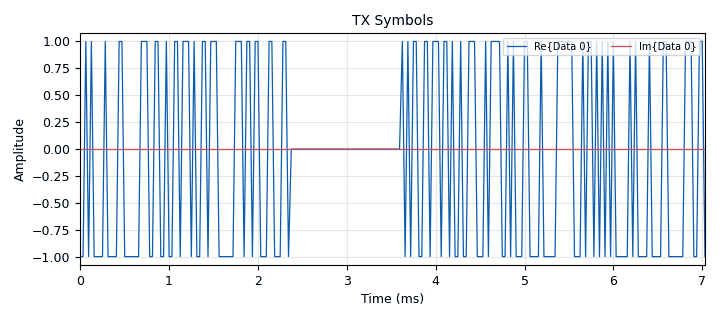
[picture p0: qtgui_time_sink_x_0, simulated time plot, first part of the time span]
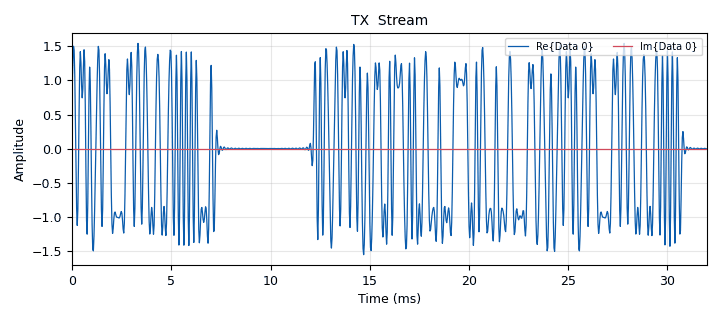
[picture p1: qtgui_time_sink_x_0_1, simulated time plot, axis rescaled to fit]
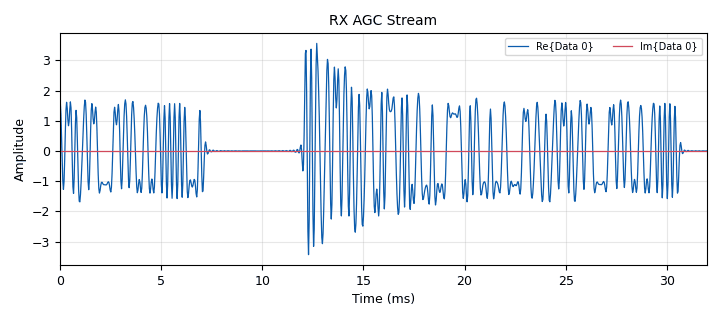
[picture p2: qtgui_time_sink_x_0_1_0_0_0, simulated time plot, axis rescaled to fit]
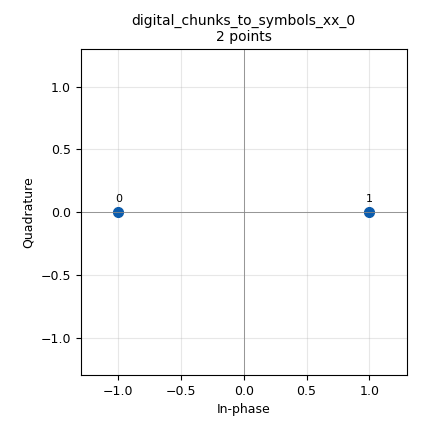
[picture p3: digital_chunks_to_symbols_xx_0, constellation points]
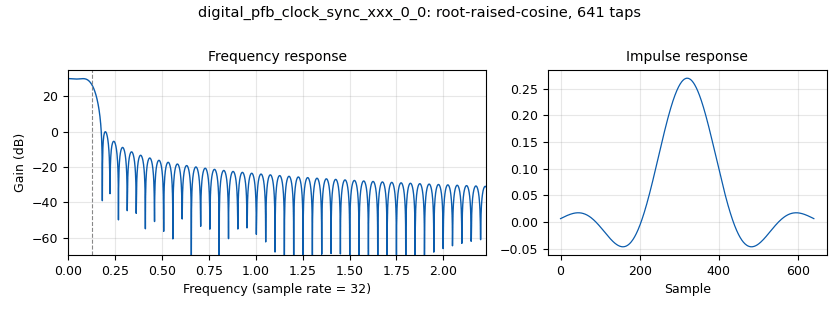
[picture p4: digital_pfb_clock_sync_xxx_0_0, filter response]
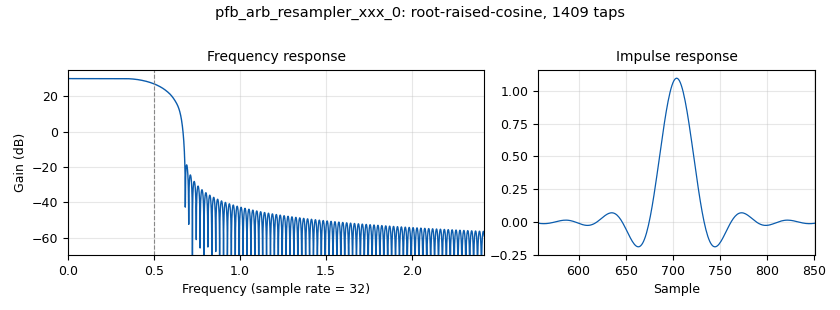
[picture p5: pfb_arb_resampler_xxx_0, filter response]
<?xml version='1.0' encoding='utf-8'?>
<?grc format='1' created='3.7.9'?>
<flow_graph>
<block>
<key>options</key>
<param><key>id</key><value>basic_chain_debug</value></param>
<param><key>category</key><value>Custom</value></param>
<param><key>generate_options</key><value>qt_gui</value></param>
</block>
<block>
<key>variable</key>
<param><key>id</key><value>constel_header</value></param>
<param><key>value</key><value>digital.constellation_bpsk()</value></param>
</block>
<block>
<key>variable</key>
<param><key>id</key><value>constel_payload</value></param>
<param><key>value</key><value>digital.constellation_bpsk()</value></param>
</block>
<block>
<key>variable</key>
<param><key>id</key><value>constel_preamble</value></param>
<param><key>value</key><value>digital.constellation_bpsk()</value></param>
</block>
<block>
<key>variable</key>
<param><key>id</key><value>eb</value></param>
<param><key>value</key><value>0.35</value></param>
</block>
<block>
<key>variable</key>
<param><key>id</key><value>header_formatter</value></param>
<param><key>value</key><value>digital.packet_header_default(4, "packet_len", "packet_num", constel_header.bits_per_symbol())</value></param>
</block>
<block>
<key>variable</key>
<param><key>id</key><value>matched_filter</value></param>
<param><key>value</key><value>firdes.root_raised_cosine(nfilts, nfilts, 1.0, eb, 11*sps*nfilts)</value></param>
</block>
<block>
<key>variable</key>
<param><key>id</key><value>nfilts</value></param>
<param><key>value</key><value>32</value></param>
</block>
<block>
<key>variable</key>
<param><key>id</key><value>preamble</value></param>
<param><key>value</key><value>[1,-1,1,-1,1,1,-1,-1,1,1,-1,1,1,1,-1,1,1,-1,1,-1,-1,1,-1,-1,1,1,1,-1,-1,-1,1,-1,1,1,1,1,-1,-1,1,-1,1,-1,-1,-1,1,1,-1,-1,-1,-1,1,-1,-1,-1,-1,-1,1,1,1,1,1,1,-1,-1]</value></param>
</block>
<block>
<key>variable</key>
<param><key>id</key><value>rrc_taps</value></param>
<param><key>value</key><value>firdes.root_raised_cosine(nfilts, nfilts, 1.0/float(sps), eb, 5*sps*nfilts)</value></param>
</block>
<block>
<key>variable</key>
<param><key>id</key><value>rrc_taps_enc</value></param>
<param><key>value</key><value>firdes.root_raised_cosine(nfilts, nfilts, 1.0, eb, 11*sps*nfilts)</value></param>
</block>
<block>
<key>variable_qtgui_range</key>
<param><key>id</key><value>samp_rate</value></param>
<param><key>value</key><value>32000</value></param>
<param><key>gui_hint</key><value>3,1,1,1</value></param>
<param><key>label</key><value>Sample rate</value></param>
<param><key>orient</key><value>Qt.Horizontal</value></param>
<param><key>start</key><value>1</value></param>
<param><key>step</key><value>10</value></param>
<param><key>stop</key><value>256000</value></param>
<param><key>rangeType</key><value>int</value></param>
<param><key>widget</key><value>slider</value></param>
</block>
<block>
<key>variable</key>
<param><key>id</key><value>sps</value></param>
<param><key>value</key><value>4</value></param>
</block>
<block>
<key>analog_agc2_xx</key>
<param><key>id</key><value>analog_agc2_xx_0_0</value></param>
<param><key>attack_rate</key><value>1e-1</value></param>
<param><key>decay_rate</key><value>1e-2</value></param>
<param><key>gain</key><value>1.0</value></param>
<param><key>max_gain</key><value>5</value></param>
<param><key>reference</key><value>1.0</value></param>
<param><key>type</key><value>complex</value></param>
</block>
<block>
<key>blocks_complex_to_imag</key>
<param><key>id</key><value>blocks_complex_to_imag_0</value></param>
</block>
<block>
<key>blocks_complex_to_real</key>
<param><key>id</key><value>blocks_complex_to_real_0</value></param>
</block>
<block>
<key>blocks_null_source</key>
<param><key>id</key><value>blocks_null_source_0</value></param>
<param><key>bus_conns</key><value>[[0,],]</value></param>
<param><key>type</key><value>complex</value></param>
</block>
<block>
<key>blocks_repack_bits_bb</key>
<param><key>id</key><value>blocks_repack_bits_bb_0</value></param>
<param><key>k</key><value>8</value></param>
<param><key>l</key><value>constel_payload.bits_per_symbol()</value></param>
<param><key>endianness</key><value>gr.GR_LSB_FIRST</value></param>
<param><key>len_tag_key</key><value>"packet_len"</value></param>
</block>
<block>
<key>blocks_stream_to_tagged_stream</key>
<param><key>id</key><value>blocks_stream_to_tagged_stream_0</value></param>
<param><key>len_tag_key</key><value>"packet_len"</value></param>
<param><key>packet_len</key><value>10</value></param>
<param><key>type</key><value>byte</value></param>
</block>
<block>
<key>blocks_stream_to_tagged_stream</key>
<param><key>id</key><value>blocks_stream_to_tagged_stream_0_0</value></param>
<param><key>len_tag_key</key><value>"packet_len"</value></param>
<param><key>packet_len</key><value>64</value></param>
<param><key>type</key><value>complex</value></param>
</block>
<block>
<key>blocks_stream_to_tagged_stream</key>
<param><key>id</key><value>blocks_stream_to_tagged_stream_0_0_0</value></param>
<param><key>len_tag_key</key><value>"packet_len"</value></param>
<param><key>packet_len</key><value>40</value></param>
<param><key>type</key><value>complex</value></param>
</block>
<block>
<key>blocks_tag_gate</key>
<param><key>id</key><value>blocks_tag_gate_0</value></param>
<param><key>type</key><value>complex</value></param>
<param><key>propagate_tags</key><value>False</value></param>
</block>
<block>
<key>blocks_tagged_stream_mux</key>
<param><key>id</key><value>blocks_tagged_stream_mux_0</value></param>
<param><key>type</key><value>complex</value></param>
<param><key>lengthtagname</key><value>packet_len</value></param>
<param><key>ninputs</key><value>4</value></param>
</block>
<block>
<key>blocks_throttle</key>
<param><key>id</key><value>blocks_throttle_0</value></param>
<param><key>samples_per_second</key><value>samp_rate/2</value></param>
<param><key>type</key><value>complex</value></param>
</block>
<block>
<key>blocks_vector_sink_x</key>
<param><key>id</key><value>blocks_vector_sink_x_0</value></param>
<param><key>type</key><value>complex</value></param>
</block>
<block>
<key>blocks_vector_source_x</key>
<param><key>id</key><value>blocks_vector_source_x_0</value></param>
<param><key>type</key><value>byte</value></param>
<param><key>repeat</key><value>True</value></param>
<param><key>vector</key><value>(12,156,201,46,59,112,27,99,85,65,33)</value></param>
</block>
<block>
<key>blocks_vector_source_x</key>
<param><key>id</key><value>blocks_vector_source_x_0_0</value></param>
<param><key>type</key><value>complex</value></param>
<param><key>repeat</key><value>True</value></param>
<param><key>vector</key><value>preamble</value></param>
</block>
<block>
<key>channels_channel_model</key>
<param><key>id</key><value>channels_channel_model_0</value></param>
<param><key>epsilon</key><value>1.0</value></param>
<param><key>freq_offset</key><value>0.0</value></param>
<param><key>noise_voltage</key><value>0.0</value></param>
<param><key>seed</key><value>0</value></param>
<param><key>taps</key><value>1</value></param>
</block>
<block>
<key>digital_chunks_to_symbols_xx</key>
<param><key>id</key><value>digital_chunks_to_symbols_xx_0</value></param>
<param><key>dimension</key><value>1</value></param>
<param><key>in_type</key><value>byte</value></param>
<param><key>out_type</key><value>complex</value></param>
<param><key>symbol_table</key><value>constel_header.points()</value></param>
</block>
<block>
<key>digital_chunks_to_symbols_xx</key>
<param><key>id</key><value>digital_chunks_to_symbols_xx_0_0</value></param>
<param><key>dimension</key><value>1</value></param>
<param><key>in_type</key><value>byte</value></param>
<param><key>out_type</key><value>complex</value></param>
<param><key>symbol_table</key><value>constel_payload.points()</value></param>
</block>
<block>
<key>digital_correlate_and_sync_cc</key>
<param><key>id</key><value>digital_correlate_and_sync_cc_0</value></param>
<param><key>filter</key><value>matched_filter</value></param>
<param><key>sps</key><value>sps</value></param>
<param><key>symbols</key><value>preamble</value></param>
</block>
<block>
<key>digital_packet_headergenerator_bb</key>
<param><key>id</key><value>digital_packet_headergenerator_bb_0</value></param>
<param><key>header_formatter</key><value>header_formatter</value></param>
<param><key>len_tag_key</key><value>"packet_len"</value></param>
</block>
<block>
<key>digital_pfb_clock_sync_xxx</key>
<param><key>id</key><value>digital_pfb_clock_sync_xxx_0_0</value></param>
<param><key>filter_size</key><value>32</value></param>
<param><key>init_phase</key><value>0</value></param>
<param><key>loop_bw</key><value>3.14*2/100</value></param>
<param><key>max_dev</key><value>1.5</value></param>
<param><key>osps</key><value>1</value></param>
<param><key>sps</key><value>sps</value></param>
<param><key>taps</key><value>rrc_taps</value></param>
<param><key>type</key><value>ccf</value></param>
</block>
<block>
<key>pfb_arb_resampler_xxx</key>
<param><key>id</key><value>pfb_arb_resampler_xxx_0</value></param>
<param><key>nfilts</key><value>32</value></param>
<param><key>rrate</key><value>sps</value></param>
<param><key>atten</key><value>100</value></param>
<param><key>taps</key><value>rrc_taps_enc</value></param>
<param><key>type</key><value>ccf</value></param>
</block>
<block>
<key>qtgui_time_sink_x</key>
<param><key>id</key><value>qtgui_time_sink_x_0</value></param>
<param><key>color1</key><value>"blue"</value></param>
<param><key>label1</key><value></value></param>
<param><key>color2</key><value>"red"</value></param>
<param><key>label2</key><value></value></param>
<param><key>name</key><value>"TX Symbols"</value></param>
<param><key>size</key><value>1024</value></param>
<param><key>srate</key><value>samp_rate</value></param>
<param><key>type</key><value>complex</value></param>
</block>
<block>
<key>qtgui_time_sink_x</key>
<param><key>id</key><value>qtgui_time_sink_x_0_1</value></param>
<param><key>color1</key><value>"blue"</value></param>
<param><key>label1</key><value></value></param>
<param><key>color2</key><value>"red"</value></param>
<param><key>label2</key><value></value></param>
<param><key>name</key><value>"TX  Stream"</value></param>
<param><key>size</key><value>1024</value></param>
<param><key>srate</key><value>samp_rate</value></param>
<param><key>type</key><value>complex</value></param>
</block>
<block>
<key>qtgui_time_sink_x</key>
<param><key>id</key><value>qtgui_time_sink_x_0_1_0_0</value></param>
<param><key>color1</key><value>"blue"</value></param>
<param><key>label1</key><value></value></param>
<param><key>color2</key><value>"red"</value></param>
<param><key>label2</key><value></value></param>
<param><key>name</key><value>"RX  Costas Stream"</value></param>
<param><key>size</key><value>1024</value></param>
<param><key>srate</key><value>samp_rate</value></param>
<param><key>type</key><value>complex</value></param>
<param><key>ymax</key><value>100</value></param>
<param><key>ymin</key><value>-100</value></param>
</block>
<block>
<key>qtgui_time_sink_x</key>
<param><key>id</key><value>qtgui_time_sink_x_0_1_0_0_0</value></param>
<param><key>color1</key><value>"blue"</value></param>
<param><key>label1</key><value></value></param>
<param><key>color2</key><value>"red"</value></param>
<param><key>label2</key><value></value></param>
<param><key>name</key><value>"RX AGC Stream"</value></param>
<param><key>size</key><value>1024</value></param>
<param><key>srate</key><value>samp_rate</value></param>
<param><key>type</key><value>complex</value></param>
</block>
<block>
<key>qtgui_time_sink_x</key>
<param><key>id</key><value>qtgui_time_sink_x_0_1_0_0_0_0</value></param>
<param><key>color1</key><value>"blue"</value></param>
<param><key>label1</key><value></value></param>
<param><key>color2</key><value>"red"</value></param>
<param><key>label2</key><value></value></param>
<param><key>name</key><value>"RX Correlated Stream"</value></param>
<param><key>size</key><value>1024</value></param>
<param><key>srate</key><value>samp_rate</value></param>
<param><key>type</key><value>complex</value></param>
</block>
<block>
<key>qtgui_time_sink_x</key>
<param><key>id</key><value>qtgui_time_sink_x_0_1_0_0_2</value></param>
<param><key>color1</key><value>"blue"</value></param>
<param><key>label1</key><value></value></param>
<param><key>color2</key><value>"red"</value></param>
<param><key>label2</key><value></value></param>
<param><key>name</key><value>"RX  Polyphased Stream"</value></param>
<param><key>size</key><value>1024</value></param>
<param><key>srate</key><value>samp_rate</value></param>
<param><key>type</key><value>complex</value></param>
<param><key>ymax</key><value>100</value></param>
<param><key>ymin</key><value>-100</value></param>
</block>
<block>
<key>qtgui_time_sink_x</key>
<param><key>id</key><value>qtgui_time_sink_x_0_2</value></param>
<param><key>color1</key><value>"blue"</value></param>
<param><key>label1</key><value></value></param>
<param><key>color2</key><value>"red"</value></param>
<param><key>label2</key><value></value></param>
<param><key>name</key><value>"Correlation"</value></param>
<param><key>nconnections</key><value>2</value></param>
<param><key>size</key><value>10000</value></param>
<param><key>srate</key><value>samp_rate*2</value></param>
<param><key>type</key><value>float</value></param>
<param><key>update_time</key><value>0.02</value></param>
</block>
<block>
<key>virtual_sink</key>
<param><key>id</key><value>virtual_sink_0</value></param>
<param><key>stream_id</key><value>tx_symbol_stream</value></param>
</block>
<block>
<key>virtual_sink</key>
<param><key>id</key><value>virtual_sink_1</value></param>
<param><key>stream_id</key><value>rx_stream</value></param>
</block>
<block>
<key>virtual_sink</key>
<param><key>id</key><value>virtual_sink_1_0</value></param>
<param><key>stream_id</key><value>tx_stream</value></param>
</block>
<block>
<key>virtual_sink</key>
<param><key>id</key><value>virtual_sink_1_0_0_0</value></param>
<param><key>stream_id</key><value>rx_synced_stream</value></param>
</block>
<block>
<key>virtual_source</key>
<param><key>id</key><value>virtual_source_0</value></param>
<param><key>stream_id</key><value>tx_stream</value></param>
</block>
<block>
<key>virtual_source</key>
<param><key>id</key><value>virtual_source_0_0</value></param>
<param><key>stream_id</key><value>tx_symbol_stream</value></param>
</block>
<block>
<key>virtual_source</key>
<param><key>id</key><value>virtual_source_1_0_0</value></param>
<param><key>stream_id</key><value>rx_stream</value></param>
</block>
<block>
<key>virtual_source</key>
<param><key>id</key><value>virtual_source_1_1</value></param>
<param><key>stream_id</key><value>rx_synced_stream</value></param>
</block>
<connection><source_block_id>analog_agc2_xx_0_0</source_block_id><sink_block_id>digital_correlate_and_sync_cc_0</sink_block_id><source_key>0</source_key><sink_key>0</sink_key></connection>
<connection><source_block_id>analog_agc2_xx_0_0</source_block_id><sink_block_id>qtgui_time_sink_x_0_1_0_0_0</sink_block_id><source_key>0</source_key><sink_key>0</sink_key></connection>
<connection><source_block_id>blocks_complex_to_imag_0</source_block_id><sink_block_id>qtgui_time_sink_x_0_2</sink_block_id><source_key>0</source_key><sink_key>1</sink_key></connection>
<connection><source_block_id>blocks_complex_to_real_0</source_block_id><sink_block_id>qtgui_time_sink_x_0_2</sink_block_id><source_key>0</source_key><sink_key>0</sink_key></connection>
<connection><source_block_id>blocks_null_source_0</source_block_id><sink_block_id>blocks_stream_to_tagged_stream_0_0_0</sink_block_id><source_key>0</source_key><sink_key>0</sink_key></connection>
<connection><source_block_id>blocks_repack_bits_bb_0</source_block_id><sink_block_id>digital_chunks_to_symbols_xx_0_0</sink_block_id><source_key>0</source_key><sink_key>0</sink_key></connection>
<connection><source_block_id>blocks_stream_to_tagged_stream_0</source_block_id><sink_block_id>blocks_repack_bits_bb_0</sink_block_id><source_key>0</source_key><sink_key>0</sink_key></connection>
<connection><source_block_id>blocks_stream_to_tagged_stream_0</source_block_id><sink_block_id>digital_packet_headergenerator_bb_0</sink_block_id><source_key>0</source_key><sink_key>0</sink_key></connection>
<connection><source_block_id>blocks_stream_to_tagged_stream_0_0</source_block_id><sink_block_id>blocks_tagged_stream_mux_0</sink_block_id><source_key>0</source_key><sink_key>0</sink_key></connection>
<connection><source_block_id>blocks_stream_to_tagged_stream_0_0_0</source_block_id><sink_block_id>blocks_tagged_stream_mux_0</sink_block_id><source_key>0</source_key><sink_key>3</sink_key></connection>
<connection><source_block_id>blocks_tag_gate_0</source_block_id><sink_block_id>blocks_throttle_0</sink_block_id><source_key>0</source_key><sink_key>0</sink_key></connection>
<connection><source_block_id>blocks_tagged_stream_mux_0</source_block_id><sink_block_id>qtgui_time_sink_x_0</sink_block_id><source_key>0</source_key><sink_key>0</sink_key></connection>
<connection><source_block_id>blocks_tagged_stream_mux_0</source_block_id><sink_block_id>virtual_sink_0</sink_block_id><source_key>0</source_key><sink_key>0</sink_key></connection>
<connection><source_block_id>blocks_throttle_0</source_block_id><sink_block_id>channels_channel_model_0</sink_block_id><source_key>0</source_key><sink_key>0</sink_key></connection>
<connection><source_block_id>blocks_vector_source_x_0</source_block_id><sink_block_id>blocks_stream_to_tagged_stream_0</sink_block_id><source_key>0</source_key><sink_key>0</sink_key></connection>
<connection><source_block_id>blocks_vector_source_x_0_0</source_block_id><sink_block_id>blocks_stream_to_tagged_stream_0_0</sink_block_id><source_key>0</source_key><sink_key>0</sink_key></connection>
<connection><source_block_id>channels_channel_model_0</source_block_id><sink_block_id>virtual_sink_1</sink_block_id><source_key>0</source_key><sink_key>0</sink_key></connection>
<connection><source_block_id>digital_chunks_to_symbols_xx_0</source_block_id><sink_block_id>blocks_tagged_stream_mux_0</sink_block_id><source_key>0</source_key><sink_key>1</sink_key></connection>
<connection><source_block_id>digital_chunks_to_symbols_xx_0_0</source_block_id><sink_block_id>blocks_tagged_stream_mux_0</sink_block_id><source_key>0</source_key><sink_key>2</sink_key></connection>
<connection><source_block_id>digital_correlate_and_sync_cc_0</source_block_id><sink_block_id>blocks_complex_to_imag_0</sink_block_id><source_key>1</source_key><sink_key>0</sink_key></connection>
<connection><source_block_id>digital_correlate_and_sync_cc_0</source_block_id><sink_block_id>blocks_complex_to_real_0</sink_block_id><source_key>1</source_key><sink_key>0</sink_key></connection>
<connection><source_block_id>digital_correlate_and_sync_cc_0</source_block_id><sink_block_id>digital_pfb_clock_sync_xxx_0_0</sink_block_id><source_key>0</source_key><sink_key>0</sink_key></connection>
<connection><source_block_id>digital_correlate_and_sync_cc_0</source_block_id><sink_block_id>qtgui_time_sink_x_0_1_0_0_0_0</sink_block_id><source_key>0</source_key><sink_key>0</sink_key></connection>
<connection><source_block_id>digital_packet_headergenerator_bb_0</source_block_id><sink_block_id>digital_chunks_to_symbols_xx_0</sink_block_id><source_key>0</source_key><sink_key>0</sink_key></connection>
<connection><source_block_id>digital_pfb_clock_sync_xxx_0_0</source_block_id><sink_block_id>qtgui_time_sink_x_0_1_0_0_2</sink_block_id><source_key>0</source_key><sink_key>0</sink_key></connection>
<connection><source_block_id>digital_pfb_clock_sync_xxx_0_0</source_block_id><sink_block_id>virtual_sink_1_0_0_0</sink_block_id><source_key>0</source_key><sink_key>0</sink_key></connection>
<connection><source_block_id>pfb_arb_resampler_xxx_0</source_block_id><sink_block_id>qtgui_time_sink_x_0_1</sink_block_id><source_key>0</source_key><sink_key>0</sink_key></connection>
<connection><source_block_id>pfb_arb_resampler_xxx_0</source_block_id><sink_block_id>virtual_sink_1_0</sink_block_id><source_key>0</source_key><sink_key>0</sink_key></connection>
<connection><source_block_id>virtual_source_0</source_block_id><sink_block_id>blocks_tag_gate_0</sink_block_id><source_key>0</source_key><sink_key>0</sink_key></connection>
<connection><source_block_id>virtual_source_0_0</source_block_id><sink_block_id>pfb_arb_resampler_xxx_0</sink_block_id><source_key>0</source_key><sink_key>0</sink_key></connection>
<connection><source_block_id>virtual_source_1_0_0</source_block_id><sink_block_id>analog_agc2_xx_0_0</sink_block_id><source_key>0</source_key><sink_key>0</sink_key></connection>
<connection><source_block_id>virtual_source_1_1</source_block_id><sink_block_id>blocks_vector_sink_x_0</sink_block_id><source_key>0</source_key><sink_key>0</sink_key></connection>
</flow_graph>
